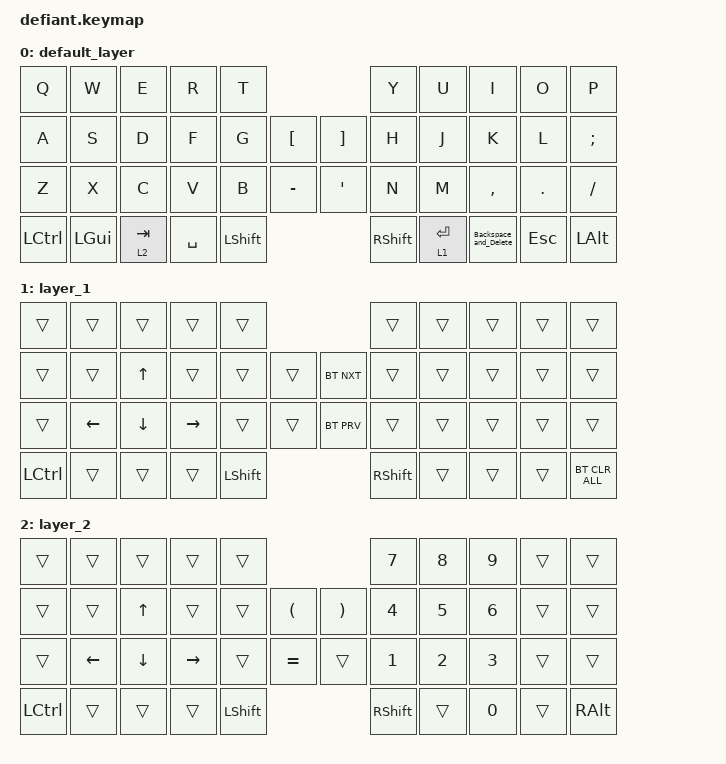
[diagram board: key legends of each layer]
#include <behaviors.dtsi>
#include <dt-bindings/zmk/bt.h>
#include <dt-bindings/zmk/keys.h>

/ {
    combos {
        compatible = "zmk,combos";

        reset_right {
            bindings = <&bootloader>;
            key-positions = <16 28 43>;

            // layers = <0 2>;
        };

        reset_left {
            bindings = <&bootloader>;
            key-positions = <15 27 34>;
        };
    };

    behaviors {
        Backspace_and_Delete: Backspace_and_Delete {
            compatible = "zmk,behavior-mod-morph";
            label = "BACKSPACE_AND_DELETE";
            bindings = <&kp BACKSPACE>, <&kp DELETE>;

            #binding-cells = <0>;
            mods = <(MOD_LSFT)>;
        };
    };

    keymap {
        compatible = "zmk,keymap";

        default_layer {
            bindings = <
&kp Q      &kp W         &kp E      &kp R      &kp T                                            &kp Y       &kp U        &kp I                  &kp O    &kp P
&kp A      &kp S         &kp D      &kp F      &kp G       &kp LEFT_BRACKET  &kp RIGHT_BRACKET  &kp H       &kp J        &kp K                  &kp L    &kp SEMI
&kp Z      &kp X         &kp C      &kp V      &kp B       &kp MINUS         &kp SINGLE_QUOTE   &kp N       &kp M        &kp COMMA              &kp DOT  &kp FSLH
&kp LCTRL  &kp LEFT_GUI  &lt 2 TAB  &kp SPACE  &kp LSHIFT                                       &kp RSHIFT  &lt 1 ENTER  &Backspace_and_Delete  &kp ESC  &kp LEFT_ALT
            >;
        };

        layer_1 {
            bindings = <
&trans     &trans          &trans        &trans           &trans                              &trans           &trans  &trans  &trans  &trans
&trans     &trans          &kp UP_ARROW  &trans           &trans          &trans  &bt BT_NXT  &trans           &trans  &trans  &trans  &trans
&trans     &kp LEFT_ARROW  &kp DOWN      &kp RIGHT_ARROW  &trans          &trans  &bt BT_PRV  &trans           &trans  &trans  &trans  &trans
&kp LCTRL  &trans          &trans        &trans           &kp LEFT_SHIFT                      &kp RIGHT_SHIFT  &trans  &trans  &trans  &bt BT_CLR_ALL
            >;
        };

        layer_2 {
            bindings = <
&trans     &trans    &trans        &trans     &trans                                                       &kp N7           &kp N8        &kp N9        &trans  &trans
&trans     &trans    &kp UP_ARROW  &trans     &trans          &kp LEFT_PARENTHESIS  &kp RIGHT_PARENTHESIS  &kp NUMBER_4     &kp N5        &kp NUMBER_6  &trans  &trans
&trans     &kp LEFT  &kp DOWN      &kp RIGHT  &trans          &kp EQUAL             &trans                 &kp NUMBER_1     &kp NUMBER_2  &kp NUMBER_3  &trans  &trans
&kp LCTRL  &trans    &trans        &trans     &kp LEFT_SHIFT                                               &kp RIGHT_SHIFT  &trans        &kp N0        &trans  &kp RIGHT_ALT
            >;
        };
    };
};
